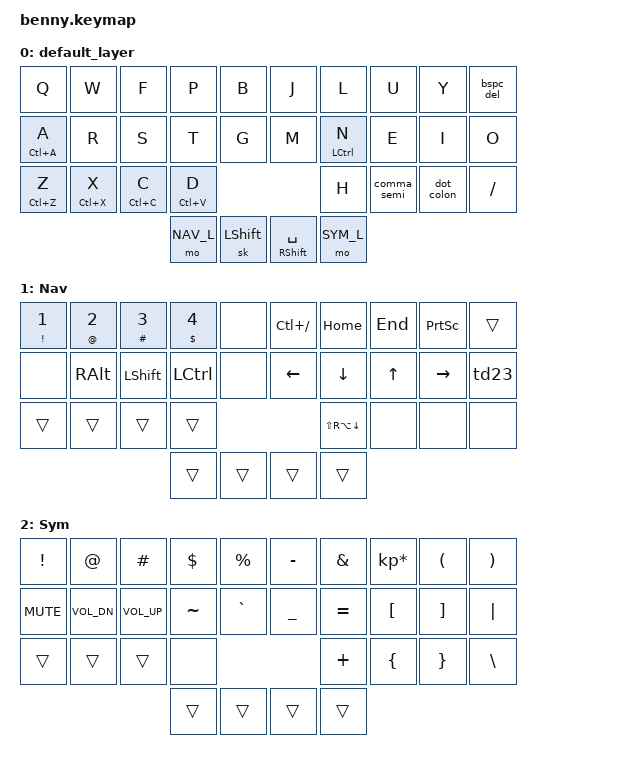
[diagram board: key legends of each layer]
/*
 * Copyright (c) 2020 The ZMK Contributors
 *
 * SPDX-License-Identifier: MIT
 */

#include <behaviors.dtsi>
#include <dt-bindings/zmk/keys.h>
#include <dt-bindings/zmk/bt.h>

/* Layers */
#define DEF_L 0
#define NAV_L 1
#define SYM_L 2
#define NUM_L 3

/* Shortcuts */
#define CUT LC(X)
#define COPY LC(C)
#define PASTE LC(V)
#define UNDO LC(Z)
#define CLONED LS(RA(DOWN))
#define REML LC(FSLH)

&mt {
    flavor = "tap-preferred";    
    tapping-term-ms = <400>;
};


&sk {
    release-after-ms = <2000>;
    quick-release;
};


/ {
        conditional_layers {
                compatible = "zmk,conditional-layers";
                num_layer {
                if-layers = <NAV_L SYM_L>;
                then-layer = <NUM_L>;
                };
        };
        
        combos {
        compatible = "zmk,combos";
        /*                KEY POSITIONS

              0   1   2   3   4     5   6   7   8   9
             10  11  12  13  14    15  16  17  18  19
             20  21  22  23            24  25  26  27
                         28  29    30  31              */

        /* Functions */
        esc { timeout-ms = <50>; key-positions = <0 1>; bindings = <&kp ESC>; };                        
        ent { timeout-ms = <20>; key-positions = <20 21>; bindings = <&kp ENTER>; };
        tab { timeout-ms = <20>; key-positions = <11 12>; bindings = <&kp TAB>; };
        // prntscr { timeout-ms = <20>; key-positions = <9 10>; bindings = <&kp PRINTSCREEN>; };

        /* Symbols */
        combo_dash { timeout-ms = <20>; key-positions = <16 17>; bindings = <&kp MINUS>; layers = <DEF_L>; };

        // combo_uscore { 
        //     timeout-ms = <20>;
        //     key-positions = <31 32>;
        //     bindings = <&kp UNDER>;
        //     };


        /* Letters */
        V { timeout-ms = <20>; key-positions = <4 14>; bindings = <&kp V>; layers = <DEF_L>; };
        K { timeout-ms = <20>; key-positions = <5 15>; bindings = <&kp K>; layers = <DEF_L>; };
                    
        };

        behaviors {
        td23: tap_dance23 {
                compatible = "zmk,behavior-tap-dance";
                label = "TAP_DANCE23";
                #binding-cells = <0>;
                tapping-term-ms = <200>;
                bindings = <&kp SQT>, <&kp DQT>;
                };

        mtrsh: mt_rshift_space {
                compatible = "zmk,behavior-hold-tap";
                label = "RSHIFT_HOLDTAP";
                flavor = "hold-preferred";
                #binding-cells = <2>;    
                tapping-term-ms = <200>;
                bindings = <&kp>, <&kp>;
                };

        mtmo: mt_momentary {
                compatible = "zmk,behavior-hold-tap";
                label = "MO_HOLDTAP";
                flavor = "hold-preferred";
                #binding-cells = <2>;    
                tapping-term-ms = <200>;
                bindings = <&mo>, <&kp>;
                };

        /* Mod Morphs */
        bspc_del: backspace_delete {
                compatible = "zmk,behavior-mod-morph";
                label = "BACKSPACE_DELETE";
                #binding-cells = <0>;
                bindings = <&kp BACKSPACE>, <&kp DELETE>;
                mods = <(MOD_LSFT|MOD_RSFT)>;
                keep-mods = <(MOD_RSFT)>;
                };

        comma_semi: comma_semi {
                compatible = "zmk,behavior-mod-morph";
                label = "COMMA_SEMI";
                #binding-cells = <0>;
                bindings = <&kp COMMA>, <&kp SEMI>;
                mods = <(MOD_LSFT|MOD_RSFT)>;
                };

        dot_colon: dot_colon {
                compatible = "zmk,behavior-mod-morph";
                label = "DOT_COLON";
                #binding-cells = <0>;
                bindings = <&kp DOT>, <&kp COLON>;
                mods = <(MOD_LSFT|MOD_RSFT)>;
                };

    };

        keymap {
                compatible = "zmk,keymap";

                default_layer {
                bindings = <
                        &kp Q         &kp W         &kp F           &kp P            &kp B                   &kp J          &kp L         &kp U          &kp Y        &bspc_del   
                        &mt LC(A) A   &kp R         &kp S           &kp T            &kp G                   &kp M          &mt LCTRL N   &kp E          &kp I        &kp O      
                        &mt UNDO Z    &mt CUT X     &mt COPY C      &mt PASTE D                                             &kp H         &comma_semi    &dot_colon   &kp FSLH
                                                                    &mo NAV_L        &sk LSHIFT              &mtrsh RSHFT SPACE    &mo SYM_L
                >;
                };

                nav_layer {
                label = "Nav";
                bindings = <
                        &mt EXCL N1  &mt AT N2      &mt HASH N3     &mt DLLR N4      &none                   &kp REML     &kp HOME      &kp END            &kp PRINTSCREEN  &trans 
                        &none        &kp RALT       &kp LSHFT       &kp LCTRL        &none                   &kp LEFT     &kp DOWN      &kp UP             &kp RIGHT        &td23
                        &trans       &trans         &trans          &trans                                                &kp CLONED    &none              &none            &none
                                                                        &trans           &trans                  &trans       &trans
                >;
                };

                sym_layer {
                label = "Sym";
                bindings = <
                        &kp EXCL     &kp AT         &kp HASH        &kp DLLR         &kp PRCNT               &kp MINUS     &kp AMPS      &kp KP_MULTIPLY     &kp LPAR       &kp RPAR
                        &kp C_MUTE   &kp C_VOL_DN   &kp C_VOL_UP    &kp TILDE        &kp GRAVE               &kp UNDER     &kp EQUAL     &kp LBKT            &kp RBKT       &kp PIPE
                        &trans       &trans         &trans          &none                                                  &kp PLUS      &kp LBRC            &kp RBRC       &kp BSLH
                                                                        &trans           &trans                  &trans        &trans
                >;
                };

                num_layer {
                lablel = "Num"
                bindings = <
                        &none         &none         &none           &none            &none                   &kp KP_N0     &kp KP_N1     &kp KP_N2           &kp KP_N3      &none     
                        &bt BT_SEL 0  &bt BT_SEL 1  &bt BT_SEL 2    &bt BT_SEL 3     &none                   &none         &kp KP_N4     &kp KP_N5           &kp KP_N6      &none
                        &none         &none         &none           &none                                                  &kp KP_N7     &kp KP_N8           &kp KP_N9      &none
                                                                        &trans           &trans                  &trans        &trans
                
                >;      
                };
        

        };
};
